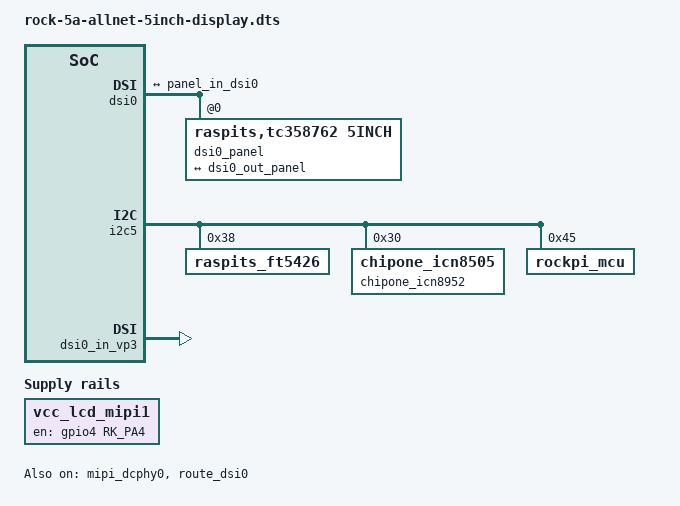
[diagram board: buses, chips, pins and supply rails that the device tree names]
/dts-v1/;
/plugin/;

#include <dt-bindings/interrupt-controller/irq.h>
#include <dt-bindings/gpio/gpio.h>
#include <dt-bindings/pinctrl/rockchip.h>

/ {
	metadata {
		title = "Enable ALLNET 5inch DSI Display";
		compatible = "radxa,rock-5a";
		category = "display";
		exclusive = "dsi0";
		description = "Enable ALLNET 5inch DSI Display";
	};

	fragment@0 {
		target-path = "/";

		__overlay__ {
			vcc_lcd_mipi1: vcc-lcd-mipi1 {
				status = "okay";
				compatible = "regulator-fixed";
				regulator-name = "vcc_lcd_mipi1";
				gpio = <&gpio4 RK_PA4 GPIO_ACTIVE_HIGH>;
				enable-active-high;
				regulator-boot-on;
				regulator-always-on;
				regulator-state-mem {
					regulator-off-in-suspend;
				};
			};
		};
	};

	fragment@1 {
		target = <&dsi0>;

		__overlay__ {
			status = "okay";
			#address-cells = <1>;
			#size-cells = <0>;
			rockchip,lane-rate = <605>;

			dsi0_panel: dsi-panel@0 {
				compatible = "raspits,tc358762,5inch";
				reg = <0x0>;
				status = "okay";

				ports {
					#address-cells = <1>;
					#size-cells = <0>;

					port@0 {
						reg = <0>;
						panel_in_dsi0: endpoint {
							remote-endpoint = <&dsi0_out_panel>;
						};
					};
				};
			};

			ports {
				#address-cells = <1>;
				#size-cells = <0>;

				port@1 {
					reg = <1>;
					dsi0_out_panel: endpoint {
						remote-endpoint = <&panel_in_dsi0>;
					};
				};
			};
		};
	};

	fragment@2 {
		target = <&i2c5>;

		__overlay__ {
			status = "okay";
			pinctrl-0 = <&i2c5m2_xfer>;
			#address-cells = <1>;
			#size-cells = <0>;

			raspits_ft5426: raspits_ft5426@38 {
				compatible = "raspits_ft5426";
				reg = <0x38>;
			};

			chipone_icn8952: chipone_icn8952@30 {
				compatible = "chipone_icn8505";
				reg = <0x30>;
			};

			rockpi_mcu: rockpi-mcu@45 {
				compatible = "rockpi_mcu";
				reg = <0x45>;
			};
		};
	};

	fragment@3 {
		target = <&mipi_dcphy0>;

		__overlay__ {
			status = "okay";
		};
	};

	fragment@4 {
		target = <&route_dsi0>;

		__overlay__ {
			status = "okay";
			connect = <&vp3_out_dsi0>;
		};
	};

	fragment@5 {
		target = <&dsi0_in_vp2>;

		__overlay__ {
			status = "disabled";
		};
	};

	fragment@6 {
		target = <&dsi0_in_vp3>;

		__overlay__ {
			status = "okay";
		};
	};
};
